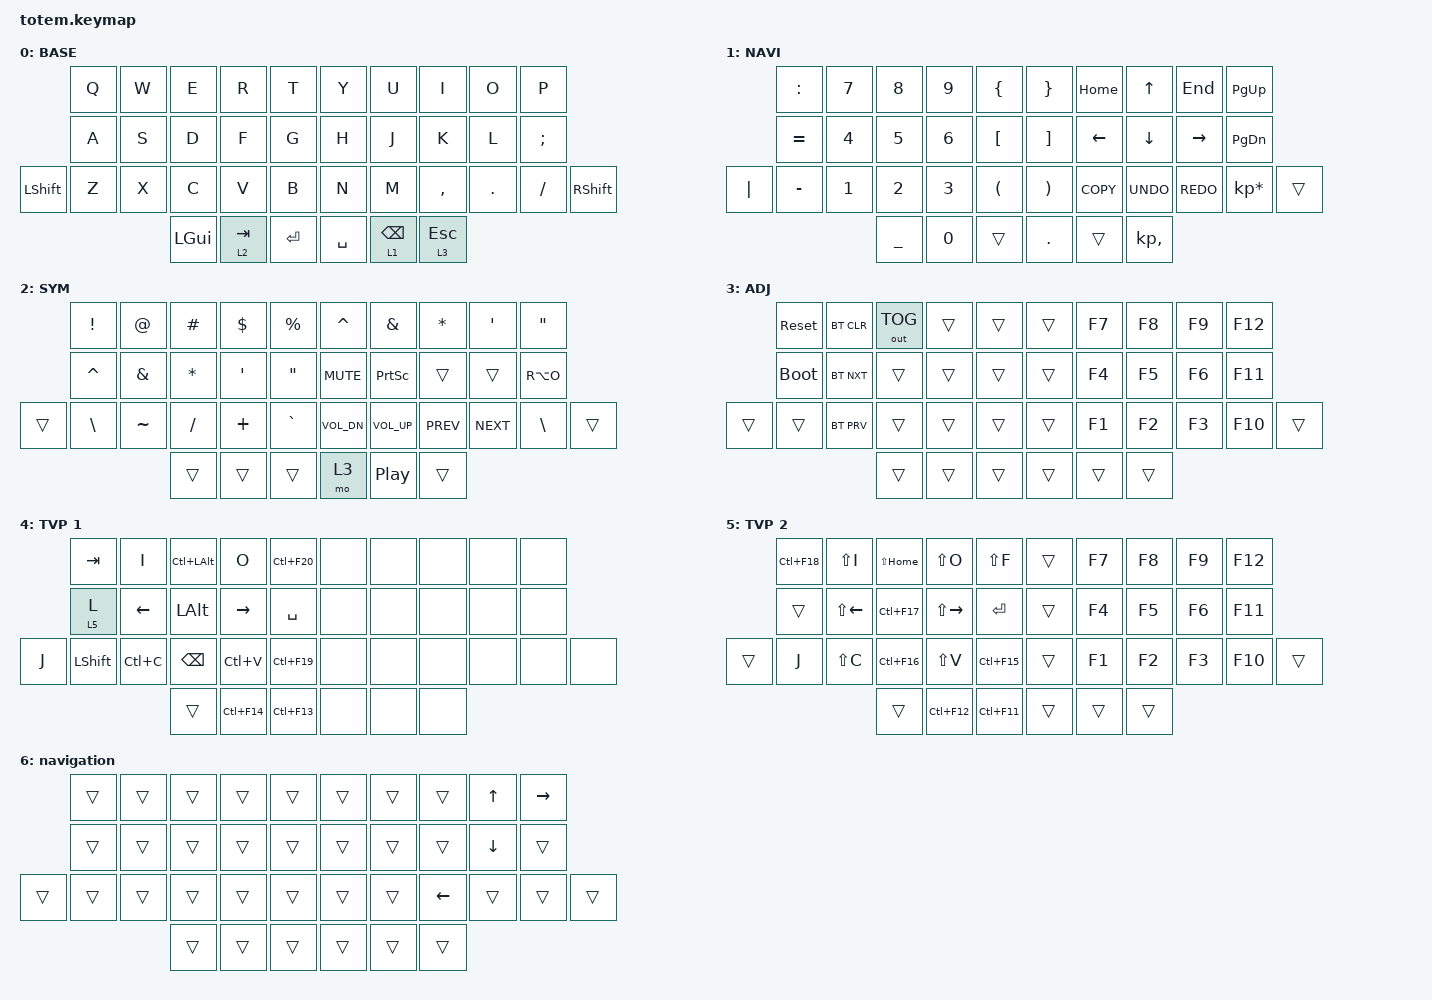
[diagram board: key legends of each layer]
//
//                                                        ▀▀▀▀▀     ▀▀▀▀▀          ▀▀█▀▀
//                                                        ▄▀▀▀▄  ▄  ▄▀▀▀▄  ▄  ▄▀▀▀▄  █  ▄▀▀▀▄
//                                                        █   █  █  █   █  █  █   █  █  █   █
//                                                         ▀▀▀   █   ▀▀▀   █   ▀▀▀   ▀   ▀▀▀
//                                                               █      ▄▄▄█▄▄▄    █   █  
//                                                               ▀      █  █  █     █▄█
//                                                             ▀▀▀▀▀    █  █  █      ▀
//                                                                      ▀  ▀  ▀
//
// ▄▄▄▄▄▄▄▄▄▄▄▄▄▄▄▄▄▄▄▄▄▄▄▄▄▄▄▄▄▄▄▄▄▄▄▄▄▄▄▄▄▄▄▄▄▄▄▄▄▄▄▄▄▄▄▄▄▄▄▄▄▄▄▄▄▄▄▄▄▄▄▄▄▄▄▄▄▄▄▄▄▄▄▄▄▄▄▄▄▄▄▄▄▄▄▄▄▄▄▄▄▄▄▄▄▄▄▄▄▄▄▄▄▄▄▄▄▄▄▄▄▄▄▄▄▄▄▄▄▄▄▄▄▄▄▄▄▄▄▄▄▄▄▄▄▄▄▄▄

#include <behaviors.dtsi>
#include <dt-bindings/zmk/bt.h>
#include <dt-bindings/zmk/keys.h>
#include <dt-bindings/zmk/outputs.h>

#define BASE 0
#define NAV  1
#define SYM  2
#define ADJ  3
#define TVP1 4
#define TVP2 5

&mt {
    quick-tap-ms = <150>;
    global-quick-tap;
    flavor = "tap-preferred";
    tapping-term-ms = <170>;
};

/ {
    combos {
        compatible = "zmk,combos";

        combo_esc {
            timeout-ms = <60>;
            key-positions = <0 1>;
            bindings = <&kp ESC>;
            require-prior-idle-ms = <120>;
        };

        dash {
            bindings = <&kp MINUS>;
            key-positions = <19 31>;
            timeout-ms = <70>;
        };

        tilde_combo {
            bindings = <&kp TILDE>;
            key-positions = <0 20>;
            timeout-ms = <60>;
            require-prior-idle-ms = <100>;
        };

        enter_combo {
            bindings = <&kp ENTER>;
            key-positions = <13 12 11>;
            timeout-ms = <70>;
            require-prior-idle-ms = <100>;
        };

        enter_right_combo {
            bindings = <&kp ENTER>;
            key-positions = <16 18 17>;
            timeout-ms = <70>;
            require-prior-idle-ms = <100>;
        };

        under_score {
            bindings = <&kp UNDER>;
            key-positions = <7 6>;
            timeout-ms = <20>;
            require-prior-idle-ms = <100>;
        };

        left_bracket {
            bindings = <&kp LEFT_BRACKET>;
            key-positions = <8 7>;
            require-prior-idle-ms = <100>;
            timeout-ms = <20>;
        };

        caps_lock {
            bindings = <&kp CAPS>;
            key-positions = <5 6>;
            timeout-ms = <20>;
            require-prior-idle-ms = <100>;
        };
    };

    behaviors {
        mt_left: mt_left {
            compatible = "zmk,behavior-hold-tap";
            label = "MT_LEFT";
            bindings = <&kp>, <&kp>;

            #binding-cells = <2>;
            tapping-term-ms = <400>;
            quick-tap-ms = <170>;
            flavor = "balanced";
            hold-trigger-key-positions = <26 27 16 15 5 6 7 5 6 7 8 9 15 16 17 18 19 26 27 28 29 31 5 6 7 8 9 15 16 17 18 19 26 27 28 29 30 31 35 36 37 32 33 34>;
            require-prior-idle-ms = <50>;
            hold-trigger-on-release;
        };

        mt_right: mt_right {
            compatible = "zmk,behavior-hold-tap";
            label = "MT_RIGHT";
            bindings = <&kp>, <&kp>;

            #binding-cells = <2>;
            tapping-term-ms = <400>;
            quick-tap-ms = <170>;
            flavor = "balanced";
            require-prior-idle-ms = <50>;
            hold-trigger-on-release;
            hold-trigger-key-positions = <0 1 4 10 11 12 13 14 20 21 22 23 24 25 2 35 36 37 3 32 33 34>;
        };

        mt_thumb: mt_thumb {
            compatible = "zmk,behavior-hold-tap";
            label = "MT_THUMB";
            bindings = <&kp>, <&kp>;

            #binding-cells = <2>;
            quick-tap-ms = <220>;
            flavor = "balanced";
            tapping-term-ms = <100>;
            require-prior-idle-ms = <0>;
        };

        mt_shift_left: mt_shift_left {
            compatible = "zmk,behavior-hold-tap";
            label = "MT_SHIFT_LEFT";
            bindings = <&kp>, <&kp>;

            #binding-cells = <2>;
            tapping-term-ms = <175>;
            quick-tap-ms = <175>;
            flavor = "tap-preferred";
            hold-trigger-key-positions = <19 26 27 29 30 31 36 37 35 36 32 33 34 5 6 7 8 9 15 16 17 18 19 26 27 28 29 31>;
            require-prior-idle-ms = <20>;
        };

        mt_shift_right: mt_shift_right {
            compatible = "zmk,behavior-hold-tap";
            label = "MT_SHIFT_RIGHT";
            bindings = <&kp>, <&kp>;

            #binding-cells = <2>;
            tapping-term-ms = <175>;
            quick-tap-ms = <175>;
            flavor = "tap-preferred";
            hold-trigger-key-positions = <0 1 2 3 4 10 11 12 13 14 20 21 22 23 24 25 32 33 34 35 36 37>;
            require-prior-idle-ms = <20>;
        };

        hold_sticky: hold_sticky {
            compatible = "zmk,behavior-hold-tap";
            label = "HOLD_STICKY";
            bindings = <&kp>, <&sk>;

            #binding-cells = <2>;
            flavor = "hold-preferred";
            tapping-term-ms = <150>;
            quick-tap-ms = <220>;
        };

        mt_all: mt_all {
            compatible = "zmk,behavior-hold-tap";
            label = "MT_ALL";
            bindings = <&kp>, <&kp>;

            #binding-cells = <2>;
            tapping-term-ms = <175>;
            quick-tap-ms = <175>;
            flavor = "balanced";
            require-prior-idle-ms = <35>;
            hold-trigger-on-release;
        };
    };

    keymap {
        compatible = "zmk,keymap";

        // ▄▄▄▄▄▄▄▄▄▄▄▄▄▄▄▄▄▄▄▄▄▄▄▄▄▄▄▄▄▄▄▄▄▄▄▄▄▄▄▄▄▄▄▄▄▄▄▄▄▄▄▄▄▄▄▄▄▄▄▄▄▄▄▄▄▄▄▄▄▄▄▄▄▄▄▄▄▄▄▄▄▄▄▄▄▄▄▄▄▄▄▄▄▄▄▄▄▄▄▄▄▄▄▄▄▄▄▄▄▄▄▄▄▄▄▄▄▄▄▄▄▄▄▄▄▄▄▄▄▄▄▄▄▄▄▄▄▄▄▄▄▄▄▄▄▄▄▄▄

        base_layer {
            // ┏━━━━━━━━━━━━━━━━━━━━━━━━━━━━━━━━━━━━━━━┓

            label = "BASE";

            // ┗━━━━━━━━━━━━━━━━━━━━━━━━━━━━━━━━━━━━━━━┛
            //             ┏━━━━━━━━━━━┳━━━━━━━━━━━┳━━━━━━━━━━━┳━━━━━━━━━━━┳━━━━━━━━━━━┓   ┏━━━━━━━━━━━┳━━━━━━━━━━━┳━━━━━━━━━━━┳━━━━━━━━━━━┳━━━━━━━━━━━┓
            //             ┃     Q     ┃     W     ┃     F     ┃     P     ┃     G     ┃   ┃     J     ┃     L     ┃     U     ┃     Y     ┃     ;     ┃
            //             ┣━━━━━━━━━━━╋━━━━━━━━━━━╋━━━━━━━━━━━╋━━━━━━━━━━━╋━━━━━━━━━━━┫   ┣━━━━━━━━━━━╋━━━━━━━━━━━╋━━━━━━━━━━━╋━━━━━━━━━━━╋━━━━━━━━━━━┫
            //             ┃     A     ┃     R     ┃     S     ┃     T     ┃     D     ┃   ┃     H     ┃     N     ┃     E     ┃     I     ┃     O     ┃
            // ┏━━━━━━━━━━━╋━━━━━━━━━━━╋━━━━━━━━━━━╋━━━━━━━━━━━╋━━━━━━━━━━━╋━━━━━━━━━━━┫   ┣━━━━━━━━━━━╋━━━━━━━━━━━╋━━━━━━━━━━━╋━━━━━━━━━━━╋━━━━━━━━━━━╋━━━━━━━━━━━┓
            // ┃     Q     ┃     Z     ┃     X     ┃     C     ┃     V     ┃     B     ┃   ┃     K     ┃     M     ┃     ,     ┃     .     ┃     /     ┃     \     ┃
            // ┗━━━━━━━━━━━┻━━━━━━━━━━━┻━━━━━━━━━━━╋━━━━━━━━━━━╋━━━━━━━━━━━╋━━━━━━━━━━━┫   ┣━━━━━━━━━━━╋━━━━━━━━━━━╋━━━━━━━━━━━╋━━━━━━━━━━━┻━━━━━━━━━━━┻━━━━━━━━━━━┛
            //                                     ┃    DEL    ┃    TAB    ┃    SPC    ┃   ┃   ENTER   ┃           ┃   BSPC    ┃
            //                                     ┗━━━━━━━━━━━┻━━━━━━━━━━━┻━━━━━━━━━━━┛   ┗━━━━━━━━━━━┻━━━━━━━━━━━┻━━━━━━━━━━━┛

            bindings = <
                &kp Q  &kp W  &kp E         &kp R      &kp T        &kp Y      &kp U            &kp I      &kp O    &kp P
                &kp A  &kp S  &kp D         &kp F      &kp G        &kp H      &kp J            &kp K      &kp L    &kp SEMICOLON
&kp LEFT_SHIFT  &kp Z  &kp X  &kp C         &kp V      &kp B        &kp N      &kp M            &kp COMMA  &kp DOT  &kp FSLH       &kp RIGHT_SHIFT
                              &kp LEFT_GUI  &lt 2 TAB  &kp ENTER    &kp SPACE  &lt 1 BACKSPACE  &lt 3 ESC
            >;
        };

        // ▄▄▄▄▄▄▄▄▄▄▄▄▄▄▄▄▄▄▄▄▄▄▄▄▄▄▄▄▄▄▄▄▄▄▄▄▄▄▄▄▄▄▄▄▄▄▄▄▄▄▄▄▄▄▄▄▄▄▄▄▄▄▄▄▄▄▄▄▄▄▄▄▄▄▄▄▄▄▄▄▄▄▄▄▄▄▄▄▄▄▄▄▄▄▄▄▄▄▄▄▄▄▄▄▄▄▄▄▄▄▄▄▄▄▄▄▄▄▄▄▄▄▄▄▄▄▄▄▄▄▄▄▄▄▄▄▄▄▄▄▄▄▄▄▄▄▄▄▄

        nav_layer {
            // ┏━━━━━━━━━━━━━━━━━━━━━━━━━━━━━━━━━━━━━━━┓

            label = "NAVI";

            // ┗━━━━━━━━━━━━━━━━━━━━━━━━━━━━━━━━━━━━━━━┛
            //             ┏━━━━━━━━━━━┳━━━━━━━━━━━┳━━━━━━━━━━━┳━━━━━━━━━━━┳━━━━━━━━━━━┓   ┏━━━━━━━━━━━┳━━━━━━━━━━━┳━━━━━━━━━━━┳━━━━━━━━━━━┳━━━━━━━━━━━┓
            //             ┃           ┃           ┃     UP    ┃           ┃     {     ┃   ┃     }     ┃     7     ┃     8     ┃     9     ┃     +     ┃
            //             ┣━━━━━━━━━━━╋━━━━━━━━━━━╋━━━━━━━━━━━╋━━━━━━━━━━━╋━━━━━━━━━━━┫   ┣━━━━━━━━━━━╋━━━━━━━━━━━╋━━━━━━━━━━━╋━━━━━━━━━━━╋━━━━━━━━━━━┫
            //             ┃   SHIFT   ┃   LEFT    ┃    DOWN   ┃   RIGHT   ┃     [     ┃   ┃     ]     ┃     4     ┃     5     ┃     6     ┃     -     ┃
            // ┏━━━━━━━━━━━╋━━━━━━━━━━━╋━━━━━━━━━━━╋━━━━━━━━━━━╋━━━━━━━━━━━╋━━━━━━━━━━━┫   ┣━━━━━━━━━━━╋━━━━━━━━━━━╋━━━━━━━━━━━╋━━━━━━━━━━━╋━━━━━━━━━━━╋━━━━━━━━━━━┓
            // ┃           ┃           ┃   P UP    ┃  C LOCK   ┃  P DOWN   ┃     (     ┃   ┃     )     ┃     1     ┃     2     ┃     3     ┃     *     ┃           ┃
            // ┗━━━━━━━━━━━┻━━━━━━━━━━━┻━━━━━━━━━━━╋━━━━━━━━━━━╋━━━━━━━━━━━╋━━━━━━━━━━━┫   ┣━━━━━━━━━━━╋━━━━━━━━━━━╋━━━━━━━━━━━╋━━━━━━━━━━━┻━━━━━━━━━━━┻━━━━━━━━━━━┛
            //                                     ┃           ┃    TAB    ┃    SPC    ┃   ┃    DEL    ┃     0     ┃           ┃
            //                                     ┗━━━━━━━━━━━┻━━━━━━━━━━━┻━━━━━━━━━━━┛   ┗━━━━━━━━━━━┻━━━━━━━━━━━┻━━━━━━━━━━━┛

            bindings = <
          &kp COLON  &kp NUMBER_7  &kp NUMBER_8    &kp NUMBER_9  &kp LBRC    &kp RBRC    &kp HOME        &kp UP_ARROW  &kp END          &kp PAGE_UP
          &kp EQUAL  &kp NUMBER_4  &kp NUMBER_5    &kp NUMBER_6  &kp LBKT    &kp RBKT    &kp LEFT_ARROW  &kp DOWN      &kp RIGHT_ARROW  &kp PAGE_DOWN
&kp PIPE  &kp MINUS  &kp NUMBER_1  &kp NUMBER_2    &kp NUMBER_3  &kp LPAR    &kp RPAR    &kp K_COPY      &kp K_UNDO    &kp K_REDO       &kp KP_MULTIPLY  &trans
                                   &kp UNDERSCORE  &kp NUMBER_0  &trans      &kp PERIOD  &trans          &kp KP_COMMA
            >;
        };

        // ▄▄▄▄▄▄▄▄▄▄▄▄▄▄▄▄▄▄▄▄▄▄▄▄▄▄▄▄▄▄▄▄▄▄▄▄▄▄▄▄▄▄▄▄▄▄▄▄▄▄▄▄▄▄▄▄▄▄▄▄▄▄▄▄▄▄▄▄▄▄▄▄▄▄▄▄▄▄▄▄▄▄▄▄▄▄▄▄▄▄▄▄▄▄▄▄▄▄▄▄▄▄▄▄▄▄▄▄▄▄▄▄▄▄▄▄▄▄▄▄▄▄▄▄▄▄▄▄▄▄▄▄▄▄▄▄▄▄▄▄▄▄▄▄▄▄▄▄▄

        sim_layer {
            // ┏━━━━━━━━━━━━━━━━━━━━━━━━━━━━━━━━━━━━━━━┓

            label = "SYM";

            // ┗━━━━━━━━━━━━━━━━━━━━━━━━━━━━━━━━━━━━━━━┛
            //             ┏━━━━━━━━━━━┳━━━━━━━━━━━┳━━━━━━━━━━━┳━━━━━━━━━━━┳━━━━━━━━━━━┓   ┏━━━━━━━━━━━┳━━━━━━━━━━━┳━━━━━━━━━━━┳━━━━━━━━━━━┳━━━━━━━━━━━┓
            //             ┃     !     ┃     @     ┃     #     ┃     $     ┃     %     ┃   ┃     ˆ     ┃     &     ┃     Ü     ┃     '     ┃     "     ┃
            //             ┣━━━━━━━━━━━╋━━━━━━━━━━━╋━━━━━━━━━━━╋━━━━━━━━━━━╋━━━━━━━━━━━┫   ┣━━━━━━━━━━━╋━━━━━━━━━━━╋━━━━━━━━━━━╋━━━━━━━━━━━╋━━━━━━━━━━━┫
            //             ┃     Ä     ┃           ┃    SZ     ┃           ┃           ┃   ┃   MUTE    ┃   YEN     ┃   EURO    ┃  POUND    ┃     Ö     ┃
            // ┏━━━━━━━━━━━╋━━━━━━━━━━━╋━━━━━━━━━━━╋━━━━━━━━━━━╋━━━━━━━━━━━╋━━━━━━━━━━━┫   ┣━━━━━━━━━━━╋━━━━━━━━━━━╋━━━━━━━━━━━╋━━━━━━━━━━━╋━━━━━━━━━━━╋━━━━━━━━━━━┓
            // ┃           ┃  EMAIL1   ┃  EMAIL2   ┃           ┃           ┃           ┃   ┃   VOL-    ┃   VOL+    ┃   LAST    ┃   NEXT    ┃     \     ┃           ┃
            // ┗━━━━━━━━━━━┻━━━━━━━━━━━┻━━━━━━━━━━━╋━━━━━━━━━━━╋━━━━━━━━━━━╋━━━━━━━━━━━┫   ┣━━━━━━━━━━━╋━━━━━━━━━━━╋━━━━━━━━━━━╋━━━━━━━━━━━┻━━━━━━━━━━━┻━━━━━━━━━━━┛
            //                                     ┃           ┃    GIF    ┃    ADJ    ┃   ┃           ┃           ┃           ┃
            //                                     ┗━━━━━━━━━━━┻━━━━━━━━━━━┻━━━━━━━━━━━┛   ┗━━━━━━━━━━━┻━━━━━━━━━━━┻━━━━━━━━━━━┛

            bindings = <
        &kp EXCL       &kp AT         &kp HASH      &kp DLLR  &kp PRCNT            &kp CARET     &kp AMPS         &kp ASTERISK  &kp SQT     &kp DQT
        &kp CARET      &kp AMPERSAND  &kp ASTERISK  &kp SQT   &kp DOUBLE_QUOTES    &kp C_MUTE    &kp PRINTSCREEN  &trans        &trans      &kp RA(O)
&trans  &kp BACKSLASH  &kp TILDE      &kp SLASH     &kp PLUS  &kp GRAVE            &kp C_VOL_DN  &kp C_VOL_UP     &kp C_PREV    &kp C_NEXT  &kp BSLH   &trans
                                      &trans        &trans    &trans               &mo 3         &kp C_PP         &trans
            >;
        };

        // ▄▄▄▄▄▄▄▄▄▄▄▄▄▄▄▄▄▄▄▄▄▄▄▄▄▄▄▄▄▄▄▄▄▄▄▄▄▄▄▄▄▄▄▄▄▄▄▄▄▄▄▄▄▄▄▄▄▄▄▄▄▄▄▄▄▄▄▄▄▄▄▄▄▄▄▄▄▄▄▄▄▄▄▄▄▄▄▄▄▄▄▄▄▄▄▄▄▄▄▄▄▄▄▄▄▄▄▄▄▄▄▄▄▄▄▄▄▄▄▄▄▄▄▄▄▄▄▄▄▄▄▄▄▄▄▄▄▄▄▄▄▄▄▄▄▄▄▄▄

        adjust_layer {
            // ┏━━━━━━━━━━━━━━━━━━━━━━━━━━━━━━━━━━━━━━━┓

            label = "ADJ";

            // ┗━━━━━━━━━━━━━━━━━━━━━━━━━━━━━━━━━━━━━━━┛
            //             ┏━━━━━━━━━━━┳━━━━━━━━━━━┳━━━━━━━━━━━┳━━━━━━━━━━━┳━━━━━━━━━━━┓   ┏━━━━━━━━━━━┳━━━━━━━━━━━┳━━━━━━━━━━━┳━━━━━━━━━━━┳━━━━━━━━━━━┓
            //             ┃   RESET   ┃ BT CLEAR  ┃  OUT TOG  ┃           ┃           ┃   ┃           ┃    F7     ┃    F8     ┃    F9     ┃    F12    ┃
            //             ┣━━━━━━━━━━━╋━━━━━━━━━━━╋━━━━━━━━━━━╋━━━━━━━━━━━╋━━━━━━━━━━━┫   ┣━━━━━━━━━━━╋━━━━━━━━━━━╋━━━━━━━━━━━╋━━━━━━━━━━━╋━━━━━━━━━━━┫
            //             ┃ BOOTLOAD  ┃ BT NEXT   ┃           ┃           ┃           ┃   ┃           ┃    F4     ┃    F5     ┃    F6     ┃    F11    ┃
            // ┏━━━━━━━━━━━╋━━━━━━━━━━━╋━━━━━━━━━━━╋━━━━━━━━━━━╋━━━━━━━━━━━╋━━━━━━━━━━━┫   ┣━━━━━━━━━━━╋━━━━━━━━━━━╋━━━━━━━━━━━╋━━━━━━━━━━━╋━━━━━━━━━━━╋━━━━━━━━━━━┓
            // ┃           ┃           ┃ BT PREV   ┃           ┃           ┃           ┃   ┃           ┃    F1     ┃    F2     ┃    F3     ┃    F10    ┃           ┃
            // ┗━━━━━━━━━━━┻━━━━━━━━━━━┻━━━━━━━━━━━╋━━━━━━━━━━━╋━━━━━━━━━━━╋━━━━━━━━━━━┫   ┣━━━━━━━━━━━╋━━━━━━━━━━━╋━━━━━━━━━━━╋━━━━━━━━━━━┻━━━━━━━━━━━┻━━━━━━━━━━━┛
            //                                     ┃           ┃           ┃           ┃   ┃           ┃           ┃           ┃
            //                                     ┗━━━━━━━━━━━┻━━━━━━━━━━━┻━━━━━━━━━━━┛   ┗━━━━━━━━━━━┻━━━━━━━━━━━┻━━━━━━━━━━━┛

            bindings = <
        &sys_reset   &bt BT_CLR  &out OUT_TOG  &trans  &trans    &trans  &kp F7  &kp F8  &kp F9  &kp F12
        &bootloader  &bt BT_NXT  &trans        &trans  &trans    &trans  &kp F4  &kp F5  &kp F6  &kp F11
&trans  &trans       &bt BT_PRV  &trans        &trans  &trans    &trans  &kp F1  &kp F2  &kp F3  &kp F10  &trans
                                 &trans        &trans  &trans    &trans  &trans  &trans
            >;
        };

        // ▄▄▄▄▄▄▄▄▄▄▄▄▄▄▄▄▄▄▄▄▄▄▄▄▄▄▄▄▄▄▄▄▄▄▄▄▄▄▄▄▄▄▄▄▄▄▄▄▄▄▄▄▄▄▄▄▄▄▄▄▄▄▄▄▄▄▄▄▄▄▄▄▄▄▄▄▄▄▄▄▄▄▄▄▄▄▄▄▄▄▄▄▄▄▄▄▄▄▄▄▄▄▄▄▄▄▄▄▄▄▄▄▄▄▄▄▄▄▄▄▄▄▄▄▄▄▄▄▄▄▄▄▄▄▄▄▄▄▄▄▄▄▄▄▄▄▄▄▄

        tvp1_layer {
            // ┏━━━━━━━━━━━━━━━━━━━━━━━━━━━━━━━━━━━━━━━┓

            label = "TVP 1";

            // ┗━━━━━━━━━━━━━━━━━━━━━━━━━━━━━━━━━━━━━━━┛
            //             ┏━━━━━━━━━━━┳━━━━━━━━━━━┳━━━━━━━━━━━┳━━━━━━━━━━━┳━━━━━━━━━━━┓   ┏━━━━━━━━━━━┳━━━━━━━━━━━┳━━━━━━━━━━━┳━━━━━━━━━━━┳━━━━━━━━━━━┓
            //             ┃ NEXT FILE ┃ MARK IN   ┃ ROTATE    ┃ MARK OUT  ┃ SHOW SNAP ┃   ┃           ┃           ┃           ┃           ┃           ┃
            //             ┣━━━━━━━━━━━╋━━━━━━━━━━━╋━━━━━━━━━━━╋━━━━━━━━━━━╋━━━━━━━━━━━┫   ┣━━━━━━━━━━━╋━━━━━━━━━━━╋━━━━━━━━━━━╋━━━━━━━━━━━╋━━━━━━━━━━━┫
            //             ┃ TVP II    ┃ LEFT      ┃ PAN       ┃ RIGHT     ┃ PLAY/FLIP ┃   ┃           ┃           ┃           ┃           ┃           ┃
            // ┏━━━━━━━━━━━╋━━━━━━━━━━━╋━━━━━━━━━━━╋━━━━━━━━━━━╋━━━━━━━━━━━╋━━━━━━━━━━━┫   ┣━━━━━━━━━━━╋━━━━━━━━━━━╋━━━━━━━━━━━╋━━━━━━━━━━━╋━━━━━━━━━━━╋━━━━━━━━━━━┓
            // ┃ FULLSCR   ┃ SHIFT     ┃ COPY      ┃ DELETE    ┃ PASTE     ┃ IMG MARK  ┃   ┃           ┃           ┃           ┃           ┃           ┃           ┃
            // ┗━━━━━━━━━━━┻━━━━━━━━━━━┻━━━━━━━━━━━╋━━━━━━━━━━━╋━━━━━━━━━━━╋━━━━━━━━━━━┫   ┣━━━━━━━━━━━╋━━━━━━━━━━━╋━━━━━━━━━━━╋━━━━━━━━━━━┻━━━━━━━━━━━┻━━━━━━━━━━━┛
            //                                     ┃           ┃ UNDO/SAVE ┃  SEL/MOV  ┃   ┃           ┃           ┃           ┃
            //                                     ┗━━━━━━━━━━━┻━━━━━━━━━━━┻━━━━━━━━━━━┛   ┗━━━━━━━━━━━┻━━━━━━━━━━━┻━━━━━━━━━━━┛

            bindings = <
       &kp TAB    &kp I      &kp LC(LALT)  &kp O        &kp LC(F20)    &none  &none  &none  &none  &none
       &lt 5 L    &kp LEFT   &kp LALT      &kp RIGHT    &kp SPACE      &none  &none  &none  &none  &none
&kp J  &kp LSHFT  &kp LC(C)  &kp BSPC      &kp LC(V)    &kp LC(F19)    &none  &none  &none  &none  &none  &none
                             &trans        &kp LC(F14)  &kp LC(F13)    &none  &none  &none
            >;
        };

        // ▄▄▄▄▄▄▄▄▄▄▄▄▄▄▄▄▄▄▄▄▄▄▄▄▄▄▄▄▄▄▄▄▄▄▄▄▄▄▄▄▄▄▄▄▄▄▄▄▄▄▄▄▄▄▄▄▄▄▄▄▄▄▄▄▄▄▄▄▄▄▄▄▄▄▄▄▄▄▄▄▄▄▄▄▄▄▄▄▄▄▄▄▄▄▄▄▄▄▄▄▄▄▄▄▄▄▄▄▄▄▄▄▄▄▄▄▄▄▄▄▄▄▄▄▄▄▄▄▄▄▄▄▄▄▄▄▄▄▄▄▄▄▄▄▄▄▄▄▄

        tvp2_layer {
            // ┏━━━━━━━━━━━━━━━━━━━━━━━━━━━━━━━━━━━━━━━┓

            label = "TVP 2";

            // ┗━━━━━━━━━━━━━━━━━━━━━━━━━━━━━━━━━━━━━━━┛
            //             ┏━━━━━━━━━━━┳━━━━━━━━━━━┳━━━━━━━━━━━┳━━━━━━━━━━━┳━━━━━━━━━━━┓   ┏━━━━━━━━━━━┳━━━━━━━━━━━┳━━━━━━━━━━━┳━━━━━━━━━━━┳━━━━━━━━━━━┓
            //             ┃ SOLO      ┃ TOGGLE IN ┃ RESET ROT ┃ TOGGLE OUT┃ TAKE SNAP ┃   ┃           ┃           ┃           ┃           ┃           ┃
            //             ┣━━━━━━━━━━━╋━━━━━━━━━━━╋━━━━━━━━━━━╋━━━━━━━━━━━╋━━━━━━━━━━━┫   ┣━━━━━━━━━━━╋━━━━━━━━━━━╋━━━━━━━━━━━╋━━━━━━━━━━━╋━━━━━━━━━━━┫
            //             ┃ ---       ┃ LAST KEY  ┃ NEW KEY   ┃ NEXT KEY  ┃ ENTER     ┃   ┃           ┃           ┃           ┃           ┃           ┃
            // ┏━━━━━━━━━━━╋━━━━━━━━━━━╋━━━━━━━━━━━╋━━━━━━━━━━━╋━━━━━━━━━━━╋━━━━━━━━━━━┫   ┣━━━━━━━━━━━╋━━━━━━━━━━━╋━━━━━━━━━━━╋━━━━━━━━━━━╋━━━━━━━━━━━╋━━━━━━━━━━━┓
            // ┃           ┃ FULLSCR   ┃ CPY2BRUSH ┃ DEL HEAD  ┃ PSTinPLACE┃ BOOK MARK ┃   ┃           ┃           ┃           ┃           ┃           ┃           ┃
            // ┗━━━━━━━━━━━┻━━━━━━━━━━━┻━━━━━━━━━━━╋━━━━━━━━━━━╋━━━━━━━━━━━╋━━━━━━━━━━━┫   ┣━━━━━━━━━━━╋━━━━━━━━━━━╋━━━━━━━━━━━╋━━━━━━━━━━━┻━━━━━━━━━━━┻━━━━━━━━━━━┛
            //                                     ┃           ┃ REDO/SAV1 ┃TRANS/WARP ┃   ┃           ┃           ┃           ┃
            //                                     ┗━━━━━━━━━━━┻━━━━━━━━━━━┻━━━━━━━━━━━┛   ┗━━━━━━━━━━━┻━━━━━━━━━━━┻━━━━━━━━━━━┛

            bindings = <
        &kp LC(F18)  &kp LS(I)     &kp LS(HOME)  &kp LS(O)      &kp LS(F)      &trans  &kp F7  &kp F8  &kp F9  &kp F12
        &trans       &kp LS(LEFT)  &kp LC(F17)   &kp LS(RIGHT)  &kp RET        &trans  &kp F4  &kp F5  &kp F6  &kp F11
&trans  &kp J        &kp LS(C)     &kp LC(F16)   &kp LS(V)      &kp LC(F15)    &trans  &kp F1  &kp F2  &kp F3  &kp F10  &trans
                                   &trans        &kp LC(F12)    &kp LC(F11)    &trans  &trans  &trans
            >;
        };

        navigation {
            bindings = <
        &trans  &trans  &trans  &trans  &trans    &trans  &trans  &trans    &kp UP_ARROW  &kp RIGHT
        &trans  &trans  &trans  &trans  &trans    &trans  &trans  &trans    &kp DOWN      &trans
&trans  &trans  &trans  &trans  &trans  &trans    &trans  &trans  &kp LEFT  &trans        &trans     &trans
                        &trans  &trans  &trans    &trans  &trans  &trans
            >;
        };
    };
};
